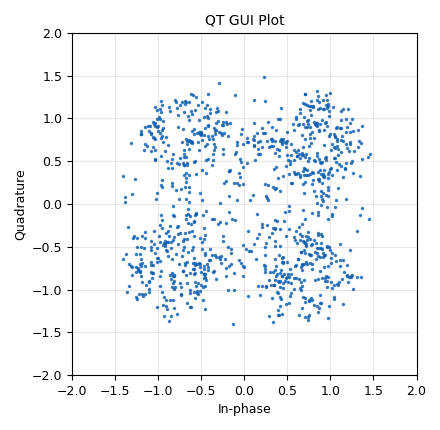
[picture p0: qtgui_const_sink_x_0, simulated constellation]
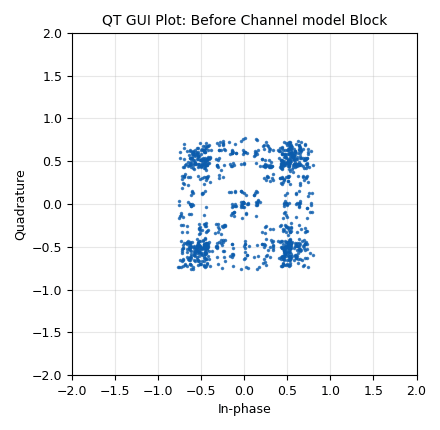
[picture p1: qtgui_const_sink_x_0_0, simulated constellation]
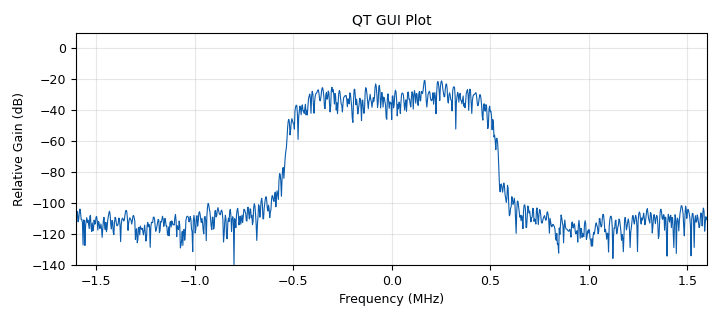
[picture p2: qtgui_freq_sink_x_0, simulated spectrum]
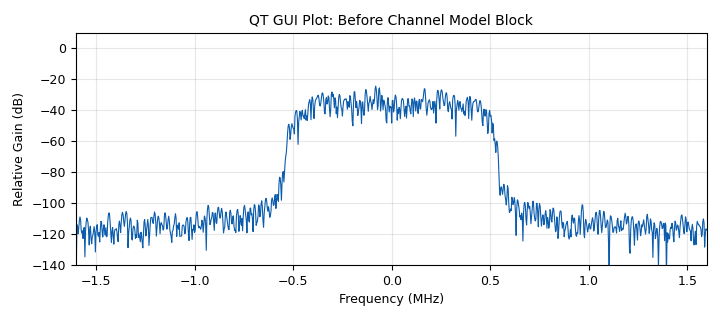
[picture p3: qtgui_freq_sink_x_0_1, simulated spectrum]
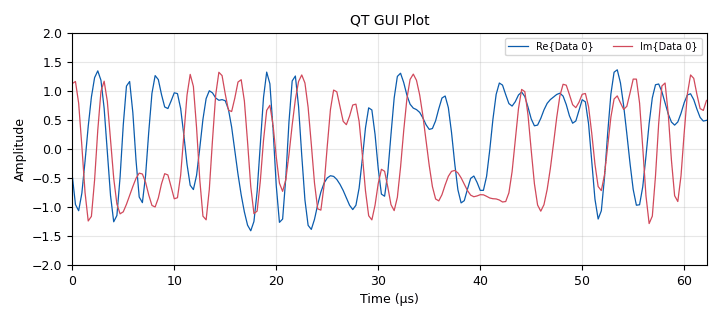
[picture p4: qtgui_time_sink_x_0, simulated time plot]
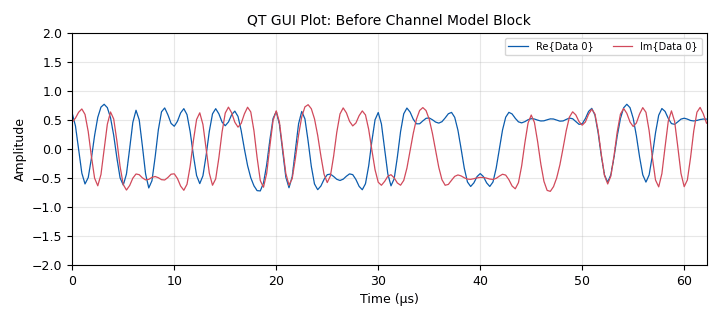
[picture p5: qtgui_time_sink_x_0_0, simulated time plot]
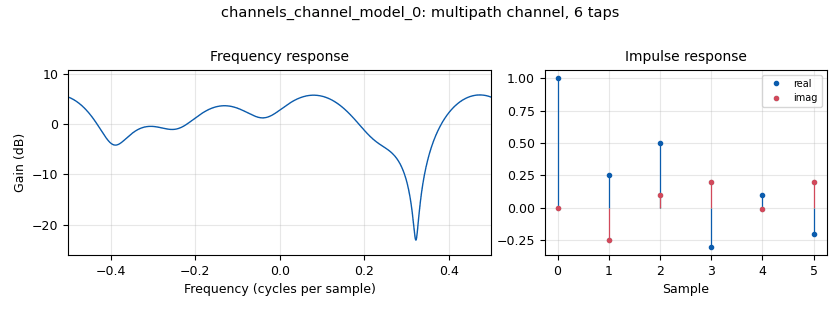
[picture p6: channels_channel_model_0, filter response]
<?xml version='1.0' encoding='utf-8'?>
<?grc format='1' created='3.7.10'?>
<flow_graph>
<block>
<key>options</key>
<param><key>id</key><value>qpsk_under_STO_CFO</value></param>
<param><key>author</key><value>Alexandros-Apostolos A. Boulogeorgos</value></param>
<param><key>generate_options</key><value>qt_gui</value></param>
</block>
<block>
<key>variable</key>
<param><key>id</key><value>arity</value></param>
<param><key>value</key><value>4</value></param>
</block>
<block>
<key>variable_qtgui_range</key>
<param><key>id</key><value>freq_offset</value></param>
<param><key>value</key><value>0</value></param>
<param><key>gui_hint</key><value>4,1,1,1</value></param>
<param><key>label</key><value>Channel: Frequency Offset</value></param>
<param><key>orient</key><value>Qt.Horizontal</value></param>
<param><key>start</key><value>-0.1</value></param>
<param><key>step</key><value>0.001</value></param>
<param><key>stop</key><value>0.1</value></param>
<param><key>widget</key><value>slider</value></param>
</block>
<block>
<key>variable_qtgui_range</key>
<param><key>id</key><value>noise_volt</value></param>
<param><key>value</key><value>0.0001</value></param>
<param><key>gui_hint</key><value>3,1,1,1</value></param>
<param><key>label</key><value>Channel: Noise Voltage</value></param>
<param><key>orient</key><value>Qt.Horizontal</value></param>
<param><key>start</key><value>0</value></param>
<param><key>step</key><value>0.01</value></param>
<param><key>stop</key><value>1</value></param>
<param><key>widget</key><value>slider</value></param>
</block>
<block>
<key>variable</key>
<param><key>id</key><value>samp_rate</value></param>
<param><key>value</key><value>3200000</value></param>
</block>
<block>
<key>variable</key>
<param><key>id</key><value>sps</value></param>
<param><key>value</key><value>4</value></param>
</block>
<block>
<key>variable</key>
<param><key>id</key><value>taps</value></param>
<param><key>_enabled</key><value>0</value></param>
<param><key>value</key><value>[1.0 + 0.0j, ]</value></param>
</block>
<block>
<key>variable</key>
<param><key>id</key><value>taps</value></param>
<param><key>value</key><value>[1.0, 0.25-0.25j, 0.50 + 0.10j, -0.3 + 0.2j, 0.1 - 0.01j, -0.2 + 0.2j]</value></param>
</block>
<block>
<key>variable_qtgui_range</key>
<param><key>id</key><value>time_offset</value></param>
<param><key>value</key><value>1.00</value></param>
<param><key>gui_hint</key><value>5,1,1,1</value></param>
<param><key>label</key><value>Channel: Timing Offset</value></param>
<param><key>orient</key><value>Qt.Horizontal</value></param>
<param><key>start</key><value>0.999</value></param>
<param><key>step</key><value>0.0001</value></param>
<param><key>stop</key><value>1.001</value></param>
<param><key>widget</key><value>slider</value></param>
</block>
<block>
<key>analog_random_source_x</key>
<param><key>id</key><value>analog_random_source_x_0</value></param>
<param><key>max</key><value>256</value></param>
<param><key>min</key><value>0</value></param>
<param><key>num_samps</key><value>1000</value></param>
<param><key>type</key><value>byte</value></param>
<param><key>repeat</key><value>True</value></param>
</block>
<block>
<key>blocks_multiply_const_vxx</key>
<param><key>id</key><value>blocks_multiply_const_vxx_0</value></param>
<param><key>const</key><value>.5+.5j</value></param>
<param><key>type</key><value>complex</value></param>
</block>
<block>
<key>blocks_throttle</key>
<param><key>id</key><value>blocks_throttle_0</value></param>
<param><key>samples_per_second</key><value>samp_rate</value></param>
<param><key>type</key><value>complex</value></param>
</block>
<block>
<key>channels_channel_model</key>
<param><key>id</key><value>channels_channel_model_0</value></param>
<param><key>epsilon</key><value>time_offset</value></param>
<param><key>freq_offset</key><value>freq_offset</value></param>
<param><key>noise_voltage</key><value>noise_volt</value></param>
<param><key>seed</key><value>0</value></param>
<param><key>taps</key><value>taps</value></param>
</block>
<block>
<key>digital_psk_mod</key>
<param><key>id</key><value>digital_psk_mod_0</value></param>
<param><key>differential</key><value>True</value></param>
<param><key>excess_bw</key><value>0.35</value></param>
<param><key>mod_code</key><value>"gray"</value></param>
<param><key>constellation_points</key><value>arity</value></param>
<param><key>samples_per_symbol</key><value>sps</value></param>
</block>
<block>
<key>import</key>
<param><key>id</key><value>import_math</value></param>
<param><key>import</key><value>import math</value></param>
</block>
<block>
<key>qtgui_const_sink_x</key>
<param><key>id</key><value>qtgui_const_sink_x_0</value></param>
<param><key>gui_hint</key><value>1,1,1,1</value></param>
<param><key>name</key><value>QT GUI Plot</value></param>
<param><key>size</key><value>1024</value></param>
<param><key>type</key><value>complex</value></param>
</block>
<block>
<key>qtgui_const_sink_x</key>
<param><key>id</key><value>qtgui_const_sink_x_0_0</value></param>
<param><key>gui_hint</key><value>1,0,1,1</value></param>
<param><key>name</key><value>QT GUI Plot: Before Channel model Block</value></param>
<param><key>size</key><value>1024</value></param>
<param><key>type</key><value>complex</value></param>
</block>
<block>
<key>qtgui_freq_sink_x</key>
<param><key>id</key><value>qtgui_freq_sink_x_0</value></param>
<param><key>bw</key><value>samp_rate</value></param>
<param><key>fc</key><value>0</value></param>
<param><key>fftsize</key><value>1024</value></param>
<param><key>gui_hint</key><value>2,1,1,1</value></param>
<param><key>name</key><value>QT GUI Plot</value></param>
<param><key>showports</key><value>True</value></param>
<param><key>type</key><value>complex</value></param>
<param><key>wintype</key><value>firdes.WIN_BLACKMAN_hARRIS</value></param>
</block>
<block>
<key>qtgui_freq_sink_x</key>
<param><key>id</key><value>qtgui_freq_sink_x_0_1</value></param>
<param><key>bw</key><value>samp_rate</value></param>
<param><key>fc</key><value>0</value></param>
<param><key>fftsize</key><value>1024</value></param>
<param><key>gui_hint</key><value>2,0,1,1</value></param>
<param><key>name</key><value>QT GUI Plot: Before Channel Model Block</value></param>
<param><key>showports</key><value>True</value></param>
<param><key>type</key><value>complex</value></param>
<param><key>wintype</key><value>firdes.WIN_BLACKMAN_hARRIS</value></param>
</block>
<block>
<key>qtgui_time_sink_x</key>
<param><key>id</key><value>qtgui_time_sink_x_0</value></param>
<param><key>gui_hint</key><value>0,1,1,1</value></param>
<param><key>color1</key><value>"blue"</value></param>
<param><key>label1</key><value></value></param>
<param><key>color2</key><value>"red"</value></param>
<param><key>label2</key><value></value></param>
<param><key>name</key><value>QT GUI Plot</value></param>
<param><key>size</key><value>200</value></param>
<param><key>srate</key><value>samp_rate</value></param>
<param><key>type</key><value>complex</value></param>
<param><key>ymax</key><value>2</value></param>
<param><key>ymin</key><value>-2</value></param>
</block>
<block>
<key>qtgui_time_sink_x</key>
<param><key>id</key><value>qtgui_time_sink_x_0_0</value></param>
<param><key>gui_hint</key><value>0,0,1,1</value></param>
<param><key>color1</key><value>"blue"</value></param>
<param><key>label1</key><value></value></param>
<param><key>color2</key><value>"red"</value></param>
<param><key>label2</key><value></value></param>
<param><key>name</key><value>QT GUI Plot: Before Channel Model Block</value></param>
<param><key>size</key><value>200</value></param>
<param><key>srate</key><value>samp_rate</value></param>
<param><key>type</key><value>complex</value></param>
<param><key>ymax</key><value>2</value></param>
<param><key>ymin</key><value>-2</value></param>
</block>
<connection><source_block_id>analog_random_source_x_0</source_block_id><sink_block_id>digital_psk_mod_0</sink_block_id><source_key>0</source_key><sink_key>0</sink_key></connection>
<connection><source_block_id>blocks_multiply_const_vxx_0</source_block_id><sink_block_id>channels_channel_model_0</sink_block_id><source_key>0</source_key><sink_key>0</sink_key></connection>
<connection><source_block_id>blocks_multiply_const_vxx_0</source_block_id><sink_block_id>qtgui_const_sink_x_0_0</sink_block_id><source_key>0</source_key><sink_key>0</sink_key></connection>
<connection><source_block_id>blocks_multiply_const_vxx_0</source_block_id><sink_block_id>qtgui_freq_sink_x_0_1</sink_block_id><source_key>0</source_key><sink_key>0</sink_key></connection>
<connection><source_block_id>blocks_multiply_const_vxx_0</source_block_id><sink_block_id>qtgui_time_sink_x_0_0</sink_block_id><source_key>0</source_key><sink_key>0</sink_key></connection>
<connection><source_block_id>blocks_throttle_0</source_block_id><sink_block_id>qtgui_const_sink_x_0</sink_block_id><source_key>0</source_key><sink_key>0</sink_key></connection>
<connection><source_block_id>blocks_throttle_0</source_block_id><sink_block_id>qtgui_freq_sink_x_0</sink_block_id><source_key>0</source_key><sink_key>0</sink_key></connection>
<connection><source_block_id>blocks_throttle_0</source_block_id><sink_block_id>qtgui_time_sink_x_0</sink_block_id><source_key>0</source_key><sink_key>0</sink_key></connection>
<connection><source_block_id>channels_channel_model_0</source_block_id><sink_block_id>blocks_throttle_0</sink_block_id><source_key>0</source_key><sink_key>0</sink_key></connection>
<connection><source_block_id>digital_psk_mod_0</source_block_id><sink_block_id>blocks_multiply_const_vxx_0</sink_block_id><source_key>0</source_key><sink_key>0</sink_key></connection>
</flow_graph>
